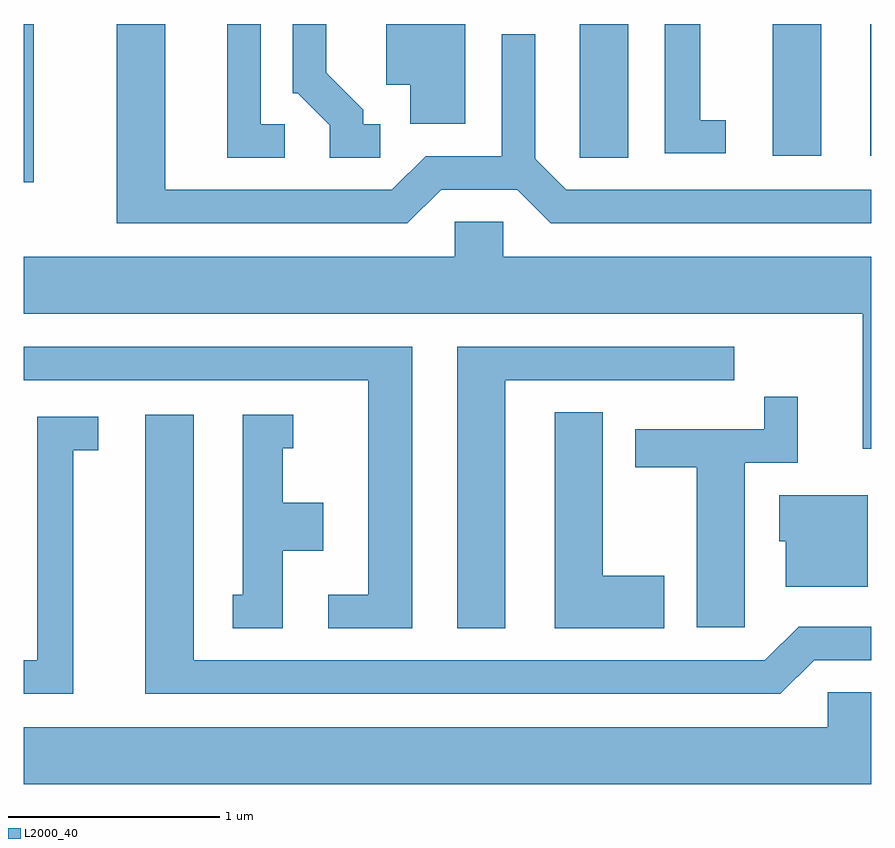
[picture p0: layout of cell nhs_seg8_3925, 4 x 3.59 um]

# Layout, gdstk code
import gdstk
lib = gdstk.Library(unit=1e-6, precision=1e-09)
def R(c, l, rs):  # rectangles x0, y0, x1, y1
    for r in rs: c.add(gdstk.rectangle(r[:2], r[2:], *l))
def P(c, l, *ps):  # polygons
    for p in ps: c.add(gdstk.Polygon(p, *l))
L2000_40 = (2000, 40)

nhs_seg8_3925 = lib.new_cell('nhs_seg8_3925')
R(nhs_seg8_3925, L2000_40, [(301.611,1943.596,301.659,1944.342), (304.236,1943.711,304.464,1944.342), (305.146,1943.721,305.374,1944.342), (305.606,1943.721,305.611,1944.342)])
P(nhs_seg8_3925, L2000_40, [(303.293,1943.869),(303.214,1943.869),(303.214,1943.937),(303.039,1944.112),(303.039,1944.342),(302.881,1944.342),(302.881,1944.016),(302.904,1944.016),(303.056,1943.864),(303.056,1943.711),(303.293,1943.711)],
  [(304.923,1943.889),(304.804,1943.889),(304.804,1944.342),(304.636,1944.342),(304.636,1943.731),(304.923,1943.731)],
  [(302.843,1943.869),(302.729,1943.869),(302.729,1944.342),(302.571,1944.342),(302.571,1943.711),(302.843,1943.711)],
  [(303.582,1943.561),(303.939,1943.561),(304.099,1943.401),(305.611,1943.401),(305.611,1943.559),(304.172,1943.559),(304.024,1943.707),(304.024,1944.293),(303.866,1944.293),(303.866,1943.719),(303.509,1943.719),(303.349,1943.559),(302.279,1943.559),(302.279,1944.342),(302.051,1944.342),(302.051,1943.401),(303.422,1943.401)],
  [(303.694,1944.342),(303.321,1944.342),(303.321,1944.056),(303.436,1944.056),(303.436,1943.871),(303.694,1943.871)],
  [(305.611,1943.244),(303.874,1943.244),(303.874,1943.409),(303.646,1943.409),(303.646,1943.244),(301.611,1943.244),(301.611,1942.976),(305.571,1942.976),(305.571,1942.338),(305.611,1942.338)],
  [(303.884,1942.661),(304.963,1942.661),(304.963,1942.819),(303.656,1942.819),(303.656,1941.491),(303.884,1941.491)],
  [(303.444,1942.819),(301.611,1942.819),(301.611,1942.661),(303.236,1942.661),(303.236,1941.649),(303.048,1941.649),(303.048,1941.491),(303.444,1941.491)],
  [(305.014,1942.271),(305.264,1942.271),(305.264,1942.583),(305.106,1942.583),(305.106,1942.429),(304.496,1942.429),(304.496,1942.251),(304.786,1942.251),(304.786,1941.496),(305.014,1941.496)],
  [(304.634,1941.739),(304.344,1941.739),(304.344,1942.509),(304.116,1942.509),(304.116,1941.491),(304.634,1941.491)],
  [(302.834,1941.856),(303.024,1941.856),(303.024,1942.084),(302.834,1942.084),(302.834,1942.341),(302.883,1942.341),(302.883,1942.499),(302.646,1942.499),(302.646,1941.649),(302.598,1941.649),(302.598,1941.491),(302.834,1941.491)],
  [(305.342,1941.341),(305.611,1941.341),(305.611,1941.499),(305.269,1941.499),(305.109,1941.339),(302.414,1941.339),(302.414,1942.499),(302.186,1942.499),(302.186,1941.181),(305.182,1941.181)],
  [(301.844,1942.331),(301.963,1942.331),(301.963,1942.489),(301.676,1942.489),(301.676,1941.339),(301.611,1941.339),(301.611,1941.181),(301.844,1941.181)],
  [(305.594,1942.119),(305.176,1942.119),(305.176,1941.901),(305.206,1941.901),(305.206,1941.686),(305.594,1941.686)],
  [(305.611,1941.189),(305.406,1941.189),(305.406,1941.024),(301.611,1941.024),(301.611,1940.756),(305.611,1940.756)])

lib.write_gds('nhs_seg8_3925.gds')
